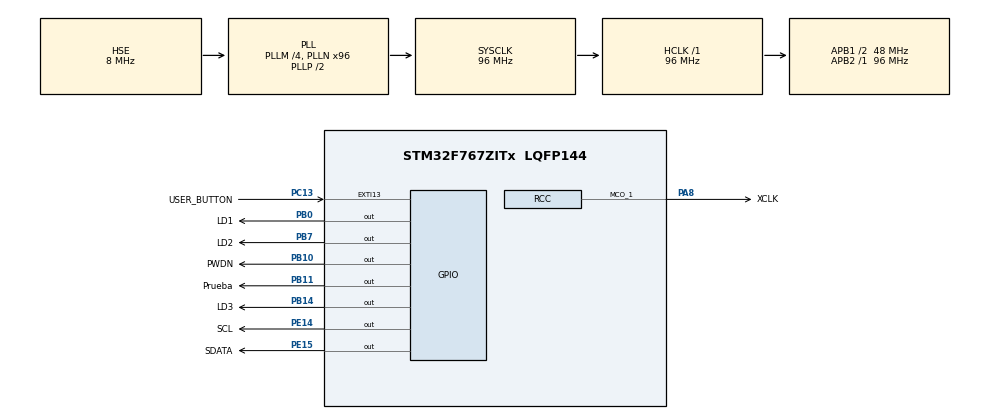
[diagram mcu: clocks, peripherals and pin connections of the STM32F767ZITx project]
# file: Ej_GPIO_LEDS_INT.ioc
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Mcu.Family=STM32F7
Mcu.Name=STM32F767ZITx
Mcu.Package=LQFP144
NVIC.EXTI15_10_IRQn=true\:0\:0\:false\:false\:true\:true
NVIC.PriorityGroup=NVIC_PRIORITYGROUP_4
NVIC.RCC_IRQn=true\:0\:0\:false\:false\:true\:true
NVIC.TIM3_IRQn=true\:0\:0\:false\:false\:true\:true
PA8.GPIO_Label=XCLK
PA8.Mode=Clock-out-1
PA8.Signal=RCC_MCO_1
PB0.GPIO_Label=LD1
PB0.Signal=GPIO_Output
PB10.GPIO_Label=PWDN
PB10.Signal=GPIO_Output
PB11.GPIO_Label=Prueba
PB11.Signal=GPIO_Output
PB14.GPIO_Label=LD3
PB14.Signal=GPIO_Output
PB7.GPIO_Label=LD2
PB7.Signal=GPIO_Output
PC13.GPIO_Label=USER_BUTTON
PC13.Signal=GPXTI13
PE14.GPIO_Label=SCL
PE14.Signal=GPIO_Output
PE15.GPIO_Label=SDATA
PE15.Signal=GPIO_Output
PH0/OSC_IN.Mode=HSE-External-Oscillator
PH0/OSC_IN.Signal=RCC_OSC_IN
PH1/OSC_OUT.Mode=HSE-External-Oscillator
PH1/OSC_OUT.Signal=RCC_OSC_OUT
ProjectManager.HeapSize=0x200
ProjectManager.StackSize=0x400
ProjectManager.TargetToolchain=MDK-ARM V5
RCC.48MHZClocksFreq_Value=24000000
RCC.AHBFreq_Value=96000000
RCC.APB1CLKDivider=RCC_HCLK_DIV2
RCC.APB1Freq_Value=48000000
RCC.APB1TimFreq_Value=96000000
RCC.APB2Freq_Value=96000000
RCC.APB2TimFreq_Value=96000000
RCC.CortexFreq_Value=96000000
RCC.HCLKFreq_Value=96000000
RCC.HSE_VALUE=8000000
RCC.HSI_VALUE=16000000
RCC.LSE_VALUE=32768
RCC.PLLM=4
RCC.PLLMUL=RCC_PLL_MUL9
RCC.PLLN=96
RCC.PLLQ=4
RCC.PLLSourceVirtual=RCC_PLLSOURCE_HSE
RCC.PRESCALERUSB=RCC_USBCLKSOURCE_PLL_DIV1_5
RCC.SYSCLKFreq_VALUE=96000000
RCC.SYSCLKSource=RCC_SYSCLKSOURCE_PLLCLK
RCC.SYSCLKSourceVirtual=RCC_SYSCLKSOURCE_PLLCLK
RCC.USBFreq_Value=48000000
RCC.VCOOutputFreq_Value=192000000
TIM2.Period=0xffffffff
TIM2.Prescaler=96
TIM3.Period=10000
TIM3.Prescaler=9600
VP_TIM2_VS_ClockSourceINT.Mode=Internal
VP_TIM3_VS_ClockSourceINT.Mode=Internal
board=NUCLEO-F767ZI

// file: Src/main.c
/**
  ******************************************************************************
  * @file           : main.c
  * @brief          : Main program body
  ******************************************************************************
  ** This notice applies to any and all portions of this file
  * that are not between comment pairs USER CODE BEGIN and
  * USER CODE END. Other portions of this file, whether
  * inserted by the user or by software development tools
  * are owned by their respective copyright owners.
  *
  * COPYRIGHT(c) 2018 STMicroelectronics
  *
  * Redistribution and use in source and binary forms, with or without modification,
  * are permitted provided that the following conditions are met:
  *   1. Redistributions of source code must retain the above copyright notice,
  *      this list of conditions and the following disclaimer.
  *   2. Redistributions in binary form must reproduce the above copyright notice,
  *      this list of conditions and the following disclaimer in the documentation
  *      and/or other materials provided with the distribution.
  *   3. Neither the name of STMicroelectronics nor the names of its contributors
  *      may be used to endorse or promote products derived from this software
  *      without specific prior written permission.
  *
  * THIS SOFTWARE IS PROVIDED BY THE COPYRIGHT HOLDERS AND CONTRIBUTORS "AS IS"
  * AND ANY EXPRESS OR IMPLIED WARRANTIES, INCLUDING, BUT NOT LIMITED TO, THE
  * IMPLIED WARRANTIES OF MERCHANTABILITY AND FITNESS FOR A PARTICULAR PURPOSE ARE
  * DISCLAIMED. IN NO EVENT SHALL THE COPYRIGHT HOLDER OR CONTRIBUTORS BE LIABLE
  * FOR ANY DIRECT, INDIRECT, INCIDENTAL, SPECIAL, EXEMPLARY, OR CONSEQUENTIAL
  * DAMAGES (INCLUDING, BUT NOT LIMITED TO, PROCUREMENT OF SUBSTITUTE GOODS OR
  * SERVICES; LOSS OF USE, DATA, OR PROFITS; OR BUSINESS INTERRUPTION) HOWEVER
  * CAUSED AND ON ANY THEORY OF LIABILITY, WHETHER IN CONTRACT, STRICT LIABILITY,
  * OR TORT (INCLUDING NEGLIGENCE OR OTHERWISE) ARISING IN ANY WAY OUT OF THE USE
  * OF THIS SOFTWARE, EVEN IF ADVISED OF THE POSSIBILITY OF SUCH DAMAGE.
  *
  ******************************************************************************
  */
#include "main.h"
#include "stm32f7xx_hal.h"

TIM_HandleTypeDef htim2;
TIM_HandleTypeDef htim3;

/* USER CODE BEGIN PV */
/* Private variables ---------------------------------------------------------*/
typedef enum
{
	Hardware = 0,
	Software,
} eReset;

typedef enum
{
	INPUT = 0,
	OUTPUT,
} eMode;

typedef enum
{
	LOW = 0,
	HIGH,
} eState;

typedef enum
{
	LD1 = 0,
	LD2,
	LD3,
	LD_OFF,
} eMode_2;

uint16_t g_delay = 10000;

uint8_t g_counter = 0;

uint8_t mode = LD_OFF;
/* USER CODE END PV */

void SystemClock_Config(void);
static void MX_GPIO_Init(void);
static void MX_TIM2_Init(void);
static void MX_TIM3_Init(void);

/* USER CODE BEGIN PFP */
/* Private function prototypes -----------------------------------------------*/
void delay_us( uint32_t us );
uint32_t micros( void );

extern uint16_t pin;
extern void pinMode( uint16_t pin, uint8_t mode );
extern void digitalWrite( uint16_t pin, uint8_t estado );
extern uint8_t digitalRead( uint16_t pin );
extern uint32_t micros( void );
extern void delay_us( uint32_t );
extern void OV_SDT( void );
extern void OV_SPDT( void );
extern void OV_PWUP( void );
extern uint8_t OV_WRITE( uint16_t Data );
extern uint8_t OV_READ( void );
extern uint8_t OV_WREGISTER( uint16_t rID, uint8_t rDAT );
extern uint8_t OV_RREGISTER( uint8_t rID, uint8_t *rDAT );
extern uint8_t OV_RESET( eReset Mode_Reset );
/* USER CODE END PFP */

int main(void)
{

  /* MCU Configuration----------------------------------------------------------*/

  /* Reset of all peripherals, Initializes the Flash interface and the Systick. */
  HAL_Init();

  /* Configure the system clock */
  SystemClock_Config();

  /* Initialize all configured peripherals */
  MX_GPIO_Init();
  MX_TIM2_Init();
  MX_TIM3_Init();
  /* USER CODE BEGIN 2 */
	HAL_TIM_Base_Start( &htim2 );
	HAL_TIM_Base_Start_IT( &htim3 );
  /* USER CODE END 2 */

  /* Infinite loop */
  /* USER CODE BEGIN WHILE */
  while (1)
  {
		switch( mode )
		{
			case LD1:
				digitalWrite( GPIO_PIN_0, HIGH );
				digitalWrite( GPIO_PIN_7, LOW );
				digitalWrite( GPIO_PIN_14, LOW );
				break;
			case LD2:
				digitalWrite( GPIO_PIN_0, HIGH );
				digitalWrite( GPIO_PIN_7, HIGH );
				digitalWrite( GPIO_PIN_14, LOW );
				break;
			case LD3:
				digitalWrite( GPIO_PIN_0, HIGH );
				digitalWrite( GPIO_PIN_7, HIGH );
				digitalWrite( GPIO_PIN_14, HIGH );
				break;
			case LD_OFF:
				digitalWrite( GPIO_PIN_0, LOW );
				digitalWrite( GPIO_PIN_7, LOW );
				digitalWrite( GPIO_PIN_14, LOW );
				break;
			default:
				break;
		}
  /* USER CODE END WHILE */

  }

}

void SystemClock_Config(void)
{

  RCC_OscInitTypeDef RCC_OscInitStruct;
  RCC_ClkInitTypeDef RCC_ClkInitStruct;

    /**Configure the main internal regulator output voltage
    */
  __HAL_RCC_PWR_CLK_ENABLE();

  __HAL_PWR_VOLTAGESCALING_CONFIG(PWR_REGULATOR_VOLTAGE_SCALE3);

    /**Initializes the CPU, AHB and APB busses clocks
    */
  RCC_OscInitStruct.OscillatorType = RCC_OSCILLATORTYPE_HSI|RCC_OSCILLATORTYPE_HSE;
  RCC_OscInitStruct.HSEState = RCC_HSE_ON;
  RCC_OscInitStruct.HSIState = RCC_HSI_ON;
  RCC_OscInitStruct.HSICalibrationValue = 16;
  RCC_OscInitStruct.PLL.PLLState = RCC_PLL_ON;
  RCC_OscInitStruct.PLL.PLLSource = RCC_PLLSOURCE_HSE;
  RCC_OscInitStruct.PLL.PLLM = 4;
  RCC_OscInitStruct.PLL.PLLN = 96;
  RCC_OscInitStruct.PLL.PLLP = RCC_PLLP_DIV2;
  RCC_OscInitStruct.PLL.PLLQ = 4;
  if (HAL_RCC_OscConfig(&RCC_OscInitStruct) != HAL_OK)
  {
    _Error_Handler(__FILE__, __LINE__);
  }

    /**Activate the Over-Drive mode
    */
  if (HAL_PWREx_EnableOverDrive() != HAL_OK)
  {
    _Error_Handler(__FILE__, __LINE__);
  }

    /**Initializes the CPU, AHB and APB busses clocks
    */
  RCC_ClkInitStruct.ClockType = RCC_CLOCKTYPE_HCLK|RCC_CLOCKTYPE_SYSCLK
                              |RCC_CLOCKTYPE_PCLK1|RCC_CLOCKTYPE_PCLK2;
  RCC_ClkInitStruct.SYSCLKSource = RCC_SYSCLKSOURCE_PLLCLK;
  RCC_ClkInitStruct.AHBCLKDivider = RCC_SYSCLK_DIV1;
  RCC_ClkInitStruct.APB1CLKDivider = RCC_HCLK_DIV2;
  RCC_ClkInitStruct.APB2CLKDivider = RCC_HCLK_DIV1;

  if (HAL_RCC_ClockConfig(&RCC_ClkInitStruct, FLASH_LATENCY_3) != HAL_OK)
  {
    _Error_Handler(__FILE__, __LINE__);
  }

  HAL_RCC_MCOConfig(RCC_MCO1, RCC_MCO1SOURCE_HSI, RCC_MCODIV_1);

    /**Configure the Systick interrupt time
    */
  HAL_SYSTICK_Config(HAL_RCC_GetHCLKFreq()/1000);

    /**Configure the Systick
    */
  HAL_SYSTICK_CLKSourceConfig(SYSTICK_CLKSOURCE_HCLK);

  /* SysTick_IRQn interrupt configuration */
  HAL_NVIC_SetPriority(SysTick_IRQn, 0, 0);
}

/* TIM2 init function */
static void MX_TIM2_Init(void)
{

  TIM_ClockConfigTypeDef sClockSourceConfig;
  TIM_MasterConfigTypeDef sMasterConfig;

  htim2.Instance = TIM2;
  htim2.Init.Prescaler = 96;
  htim2.Init.CounterMode = TIM_COUNTERMODE_UP;
  htim2.Init.Period = 0xffffffff;
  htim2.Init.ClockDivision = TIM_CLOCKDIVISION_DIV1;
  htim2.Init.AutoReloadPreload = TIM_AUTORELOAD_PRELOAD_DISABLE;
  if (HAL_TIM_Base_Init(&htim2) != HAL_OK)
  {
    _Error_Handler(__FILE__, __LINE__);
  }

  sClockSourceConfig.ClockSource = TIM_CLOCKSOURCE_INTERNAL;
  if (HAL_TIM_ConfigClockSource(&htim2, &sClockSourceConfig) != HAL_OK)
  {
    _Error_Handler(__FILE__, __LINE__);
  }

  sMasterConfig.MasterOutputTrigger = TIM_TRGO_RESET;
  sMasterConfig.MasterSlaveMode = TIM_MASTERSLAVEMODE_DISABLE;
  if (HAL_TIMEx_MasterConfigSynchronization(&htim2, &sMasterConfig) != HAL_OK)
  {
    _Error_Handler(__FILE__, __LINE__);
  }

}

/* TIM3 init function */
static void MX_TIM3_Init(void)
{

  TIM_ClockConfigTypeDef sClockSourceConfig;
  TIM_MasterConfigTypeDef sMasterConfig;

  htim3.Instance = TIM3;
  htim3.Init.Prescaler = 9600;
  htim3.Init.CounterMode = TIM_COUNTERMODE_UP;
  htim3.Init.Period = 10000;
  htim3.Init.ClockDivision = TIM_CLOCKDIVISION_DIV1;
  htim3.Init.AutoReloadPreload = TIM_AUTORELOAD_PRELOAD_DISABLE;
  if (HAL_TIM_Base_Init(&htim3) != HAL_OK)
  {
    _Error_Handler(__FILE__, __LINE__);
  }

  sClockSourceConfig.ClockSource = TIM_CLOCKSOURCE_INTERNAL;
  if (HAL_TIM_ConfigClockSource(&htim3, &sClockSourceConfig) != HAL_OK)
  {
    _Error_Handler(__FILE__, __LINE__);
  }

  sMasterConfig.MasterOutputTrigger = TIM_TRGO_RESET;
  sMasterConfig.MasterSlaveMode = TIM_MASTERSLAVEMODE_DISABLE;
  if (HAL_TIMEx_MasterConfigSynchronization(&htim3, &sMasterConfig) != HAL_OK)
  {
    _Error_Handler(__FILE__, __LINE__);
  }

}

/** Configure pins as
        * Analog
        * Input
        * Output
        * EVENT_OUT
        * EXTI
     PA8   ------> RCC_MCO_1
*/
static void MX_GPIO_Init(void)
{

  GPIO_InitTypeDef GPIO_InitStruct;

  /* GPIO Ports Clock Enable */
  __HAL_RCC_GPIOC_CLK_ENABLE();
  __HAL_RCC_GPIOH_CLK_ENABLE();
  __HAL_RCC_GPIOB_CLK_ENABLE();
  __HAL_RCC_GPIOE_CLK_ENABLE();
  __HAL_RCC_GPIOA_CLK_ENABLE();

  /*Configure GPIO pin Output Level */
  HAL_GPIO_WritePin(GPIOB, LD1_Pin|PWDN_Pin|Prueba_Pin|LD3_Pin
                          |LD2_Pin, GPIO_PIN_RESET);

  /*Configure GPIO pin Output Level */
  HAL_GPIO_WritePin(GPIOE, SCL_Pin|SDATA_Pin, GPIO_PIN_RESET);

  /*Configure GPIO pin : USER_BUTTON_Pin */
  GPIO_InitStruct.Pin = USER_BUTTON_Pin;
  GPIO_InitStruct.Mode = GPIO_MODE_IT_RISING;
  GPIO_InitStruct.Pull = GPIO_NOPULL;
  HAL_GPIO_Init(USER_BUTTON_GPIO_Port, &GPIO_InitStruct);

  /*Configure GPIO pins : LD1_Pin PWDN_Pin Prueba_Pin LD3_Pin
                           LD2_Pin */
  GPIO_InitStruct.Pin = LD1_Pin|PWDN_Pin|Prueba_Pin|LD3_Pin
                          |LD2_Pin;
  GPIO_InitStruct.Mode = GPIO_MODE_OUTPUT_PP;
  GPIO_InitStruct.Pull = GPIO_NOPULL;
  GPIO_InitStruct.Speed = GPIO_SPEED_FREQ_LOW;
  HAL_GPIO_Init(GPIOB, &GPIO_InitStruct);

  /*Configure GPIO pins : SCL_Pin SDATA_Pin */
  GPIO_InitStruct.Pin = SCL_Pin|SDATA_Pin;
  GPIO_InitStruct.Mode = GPIO_MODE_OUTPUT_PP;
  GPIO_InitStruct.Pull = GPIO_NOPULL;
  GPIO_InitStruct.Speed = GPIO_SPEED_FREQ_LOW;
  HAL_GPIO_Init(GPIOE, &GPIO_InitStruct);

  /*Configure GPIO pin : XCLK_Pin */
  GPIO_InitStruct.Pin = XCLK_Pin;
  GPIO_InitStruct.Mode = GPIO_MODE_AF_PP;
  GPIO_InitStruct.Pull = GPIO_NOPULL;
  GPIO_InitStruct.Speed = GPIO_SPEED_FREQ_LOW;
  GPIO_InitStruct.Alternate = GPIO_AF0_MCO;
  HAL_GPIO_Init(XCLK_GPIO_Port, &GPIO_InitStruct);

  /* EXTI interrupt init*/
  HAL_NVIC_SetPriority(EXTI15_10_IRQn, 0, 0);
  HAL_NVIC_EnableIRQ(EXTI15_10_IRQn);

}

/* USER CODE BEGIN 4 */
uint32_t micros( void )
{
  return htim2.Instance->CNT;
}

void delay_us( uint32_t us )
{
  uint32_t tInit = micros();
  while((micros() - tInit) < us);
}
/* USER CODE END 4 */

void _Error_Handler(char *file, int line)
{
  while(1)
  {
  }
}

/************************ (C) COPYRIGHT STMicroelectronics *****END OF FILE****/
